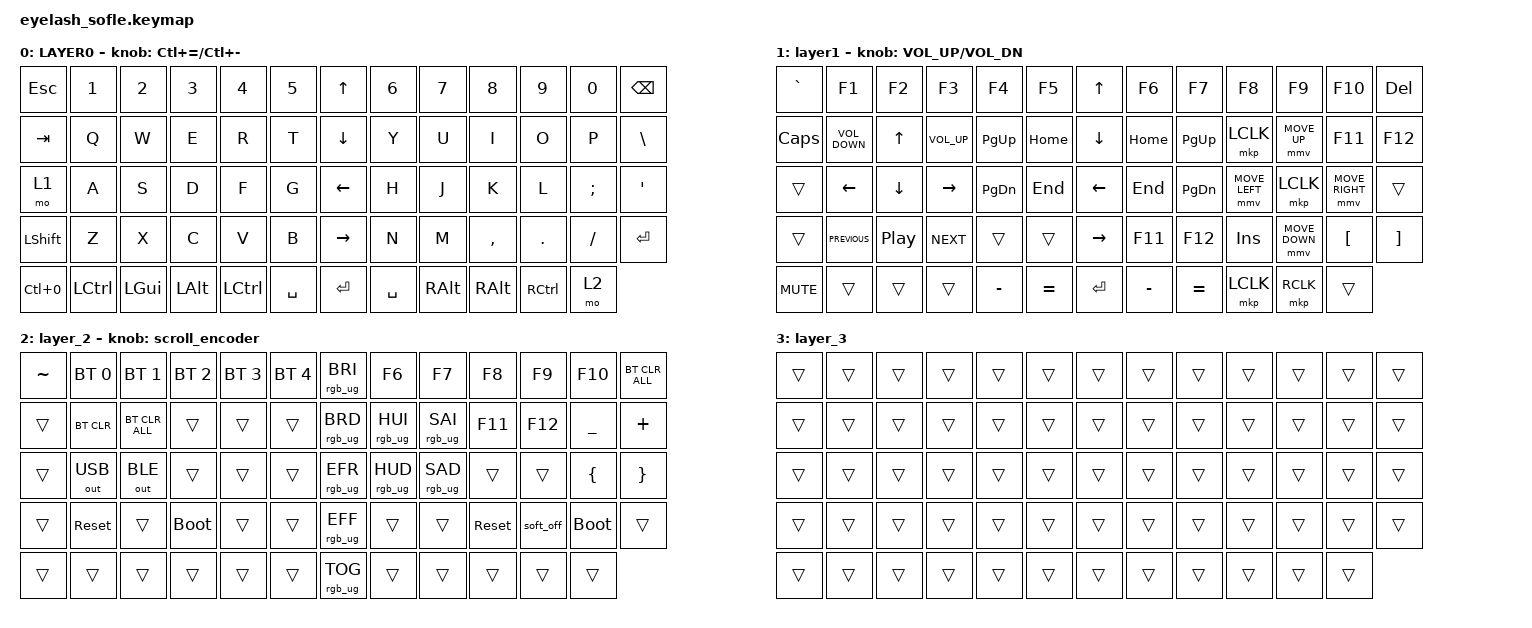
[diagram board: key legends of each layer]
#define ZMK_POINTING_DEFAULT_MOVE_VAL 1200  // 600
#define ZMK_POINTING_DEFAULT_SCRL_VAL 35    // 10

#include <input/processors.dtsi>
#include <zephyr/dt-bindings/input/input-event-codes.h>
#include <behaviors.dtsi>
#include <dt-bindings/zmk/bt.h>
#include <dt-bindings/zmk/keys.h>
#include <dt-bindings/zmk/outputs.h>
#include <dt-bindings/zmk/pointing.h>
#include <dt-bindings/zmk/pointing.h>
#include <dt-bindings/zmk/pointing.h>
#include <dt-bindings/zmk/rgb.h>

/ {
    zip_scroll_scaler: zip_scroll_scaler {
        compatible = "zmk,input-processor-scaler";
        #input-processor-cells = <2>;
        type = <INPUT_EV_REL>;
        codes = <INPUT_REL_WHEEL INPUT_REL_HWHEEL>;
        track-remainders;
    };
};

&mmv_input_listener { input-processors = <&zip_xy_scaler 2 1>; };

&msc_input_listener { input-processors = <&zip_scroll_scaler 2 1>; };

&msc {
    acceleration-exponent = <0>;      // 0
    time-to-max-speed-ms = <0>;       // 300
    delay-ms = <0>;                   // 0
};

&mmv {
    time-to-max-speed-ms = <800>;
    acceleration-exponent = <1>;
};

/ {
    scroll_encoder: scroll_encoder {
        compatible = "zmk,behavior-sensor-rotate";
        #sensor-binding-cells = <0>;
        bindings = <&msc SCRL_DOWN>, <&msc SCRL_UP>;

        tap-ms = <30>;
    };

    behaviors {
    };

    keymap {
        compatible = "zmk,keymap";

        layer0 {
            bindings = <
&kp ESC     &kp N1            &kp N2        &kp N3        &kp N4            &kp N5       &kp UP_ARROW  &kp N6     &kp N7    &kp N8     &kp N9             &kp N0    &kp BACKSPACE
&kp TAB     &kp Q             &kp W         &kp E         &kp R             &kp T        &kp DOWN      &kp Y      &kp U     &kp I      &kp O              &kp P     &kp BSLH
&mo 1       &kp A             &kp S         &kp D         &kp F             &kp G        &kp LEFT      &kp H      &kp J     &kp K      &kp L              &kp SEMI  &kp APOS
&kp LSHFT   &kp Z             &kp X         &kp C         &kp V             &kp B        &kp RIGHT     &kp N      &kp M     &kp COMMA  &kp DOT            &kp FSLH  &kp ENTER
&kp LC(N0)  &kp LEFT_CONTROL  &kp LEFT_GUI  &kp LEFT_ALT  &kp LEFT_CONTROL  &kp SPACE    &kp ENTER     &kp SPACE  &kp RALT  &kp RALT   &kp RIGHT_CONTROL  &mo 2
            >;

            sensor-bindings = <&inc_dec_kp LC(EQUAL) LC(MINUS)>;
            display-name = "LAYER0";
        };

        layer_1 {
            bindings = <
&kp GRAVE   &kp F1             &kp F2            &kp F3           &kp F4         &kp F5       &kp UP_ARROW     &kp F6     &kp F7         &kp F8          &kp F9          &kp F10           &kp DELETE
&kp CAPS    &kp C_VOLUME_DOWN  &kp UP_ARROW      &kp C_VOLUME_UP  &kp PAGE_UP    &kp HOME     &kp DOWN_ARROW   &kp HOME   &kp PAGE_UP    &mkp LCLK       &mmv MOVE_UP    &kp F11           &kp F12
&trans      &kp LEFT_ARROW     &kp DOWN_ARROW    &kp RIGHT_ARROW  &kp PAGE_DOWN  &kp END      &kp LEFT_ARROW   &kp END    &kp PAGE_DOWN  &mmv MOVE_LEFT  &mkp LCLK       &mmv MOVE_RIGHT   &trans
&trans      &kp C_PREVIOUS     &kp C_PLAY_PAUSE  &kp C_NEXT       &trans         &trans       &kp RIGHT_ARROW  &kp F11    &kp F12        &kp INSERT      &mmv MOVE_DOWN  &kp LEFT_BRACKET  &kp RIGHT_BRACKET
&kp K_MUTE  &trans             &trans            &trans           &kp MINUS      &kp EQUAL    &kp ENTER        &kp MINUS  &kp EQUAL      &mkp LCLK       &mkp RCLK       &trans
            >;

            display-name = "layer1";
            sensor-bindings = <&inc_dec_kp C_VOLUME_UP C_VOL_DN>;
        };

        layer_2 {
            bindings = <
&kp TILDE  &bt BT_SEL 0  &bt BT_SEL 1    &bt BT_SEL 2  &bt BT_SEL 3  &bt BT_SEL 4    &rgb_ug RGB_BRI  &kp F6           &kp F7           &kp F8      &kp F9     &kp F10      &bt BT_CLR_ALL
&trans     &bt BT_CLR    &bt BT_CLR_ALL  &trans        &trans        &trans          &rgb_ug RGB_BRD  &rgb_ug RGB_HUI  &rgb_ug RGB_SAI  &kp F11     &kp F12    &kp UNDER    &kp PLUS
&trans     &out OUT_USB  &out OUT_BLE    &trans        &trans        &trans          &rgb_ug RGB_EFR  &rgb_ug RGB_HUD  &rgb_ug RGB_SAD  &trans      &trans     &kp LBRC     &kp RBRC
&trans     &sys_reset    &trans          &bootloader   &trans        &trans          &rgb_ug RGB_EFF  &trans           &trans           &sys_reset  &soft_off  &bootloader  &trans
&trans     &trans        &trans          &trans        &trans        &trans          &rgb_ug RGB_TOG  &trans           &trans           &trans      &trans     &trans
            >;

            sensor-bindings = <&scroll_encoder>;
        };

        layer_3 {
            bindings = <
&trans  &trans  &trans  &trans  &trans  &trans    &trans  &trans  &trans  &trans  &trans  &trans  &trans
&trans  &trans  &trans  &trans  &trans  &trans    &trans  &trans  &trans  &trans  &trans  &trans  &trans
&trans  &trans  &trans  &trans  &trans  &trans    &trans  &trans  &trans  &trans  &trans  &trans  &trans
&trans  &trans  &trans  &trans  &trans  &trans    &trans  &trans  &trans  &trans  &trans  &trans  &trans
&trans  &trans  &trans  &trans  &trans  &trans    &trans  &trans  &trans  &trans  &trans  &trans
            >;
        };
    };
};
